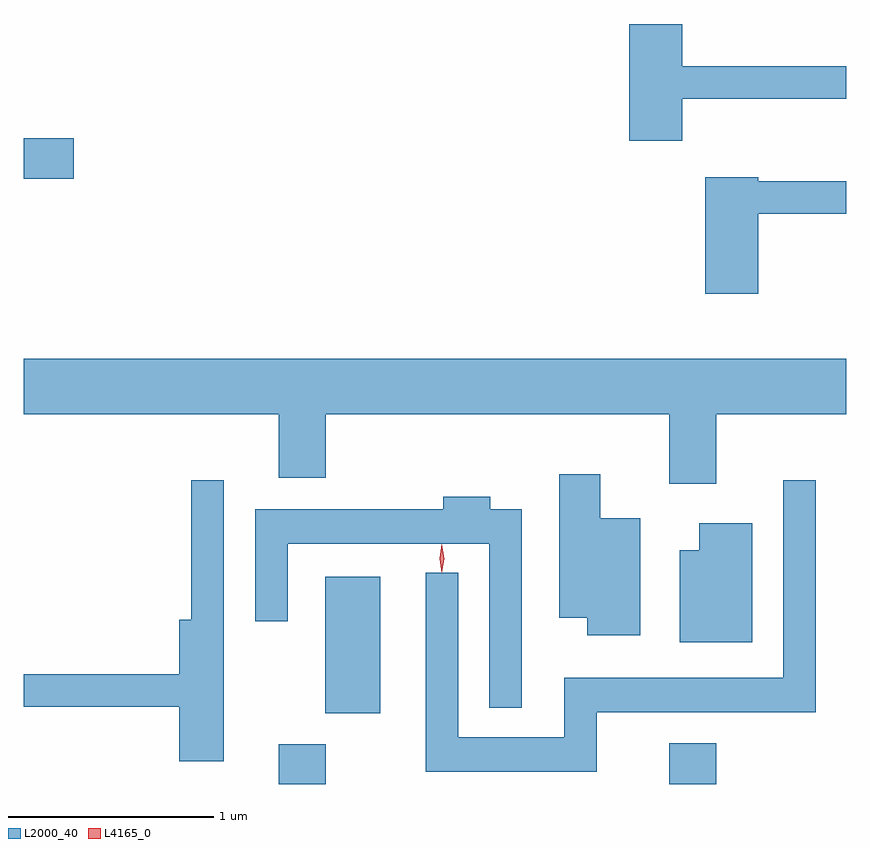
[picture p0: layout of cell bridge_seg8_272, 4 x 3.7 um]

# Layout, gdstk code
import gdstk
lib = gdstk.Library(unit=1e-6, precision=1e-09)
def R(c, l, rs):  # rectangles x0, y0, x1, y1
    for r in rs: c.add(gdstk.rectangle(r[:2], r[2:], *l))
def P(c, l, *ps):  # polygons
    for p in ps: c.add(gdstk.Polygon(p, *l))
L2000_40 = (2000, 40)
L4165_0 = (4165, 0)

bridge_seg8_272 = lib.new_cell('bridge_seg8_272')
R(bridge_seg8_272, L2000_40, [(1362.411,1807.976,1362.639,1808.169), (1364.311,1807.976,1364.539,1808.174), (1362.636,1808.321,1362.904,1808.984), (1361.171,1810.921,1361.414,1811.119)])
P(bridge_seg8_272, L2000_40, [(1364.374,1811.311),(1365.171,1811.311),(1365.171,1811.469),(1364.374,1811.469),(1364.374,1811.674),(1364.116,1811.674),(1364.116,1811.106),(1364.374,1811.106)],
  [(1364.744,1810.751),(1365.171,1810.751),(1365.171,1810.909),(1364.744,1810.909),(1364.744,1810.929),(1364.486,1810.929),(1364.486,1810.361),(1364.744,1810.361)],
  [(1364.539,1809.776),(1365.171,1809.776),(1365.171,1810.044),(1361.171,1810.044),(1361.171,1809.776),(1362.411,1809.776),(1362.411,1809.466),(1362.639,1809.466),(1362.639,1809.776),(1364.311,1809.776),(1364.311,1809.436),(1364.539,1809.436)],
  [(1364.169,1809.269),(1363.974,1809.269),(1363.974,1809.484),(1363.776,1809.484),(1363.776,1808.786),(1363.911,1808.786),(1363.911,1808.701),(1364.169,1808.701)],
  [(1363.959,1808.326),(1365.024,1808.326),(1365.024,1809.453),(1364.866,1809.453),(1364.866,1808.494),(1363.801,1808.494),(1363.801,1808.204),(1363.284,1808.204),(1363.284,1809.003),(1363.126,1809.003),(1363.126,1808.036),(1363.959,1808.036)],
  [(1362.144,1809.453),(1361.986,1809.453),(1361.986,1808.774),(1361.926,1808.774),(1361.926,1808.509),(1361.171,1808.509),(1361.171,1808.351),(1361.926,1808.351),(1361.926,1808.086),(1362.144,1808.086)],
  [(1363.594,1809.314),(1363.439,1809.314),(1363.439,1809.374),(1363.211,1809.374),(1363.211,1809.314),(1362.296,1809.314),(1362.296,1808.768),(1362.454,1808.768),(1362.454,1809.146),(1363.436,1809.146),(1363.436,1808.348),(1363.594,1808.348)],
  [(1364.714,1809.244),(1364.456,1809.244),(1364.456,1809.114),(1364.361,1809.114),(1364.361,1808.666),(1364.714,1808.666)])
P(bridge_seg8_272, L4165_0, [(1363.204,1809.007),(1363.204,1809.007),(1363.194,1809.074),(1363.204,1809.14),(1363.204,1809.14),(1363.205,1809.14),(1363.214,1809.074),(1363.205,1809.007)],
  [(1363.205,1809.003),(1363.204,1809.004),(1363.195,1809.073),(1363.204,1809.142),(1363.205,1809.143),(1363.205,1809.142),(1363.215,1809.073),(1363.205,1809.004)])

lib.write_gds('bridge_seg8_272.gds')
